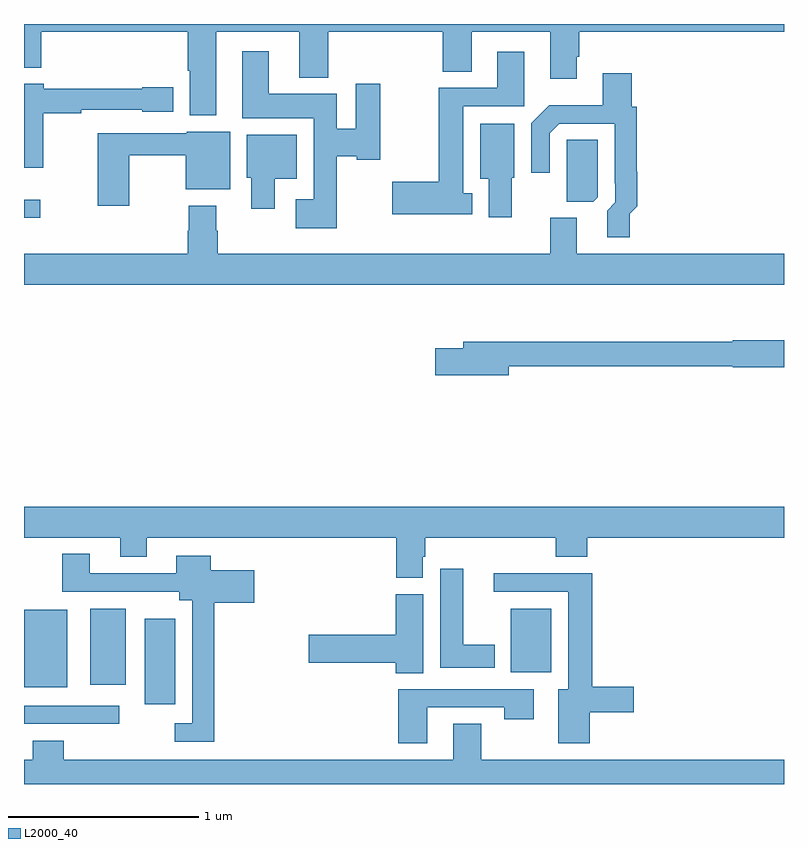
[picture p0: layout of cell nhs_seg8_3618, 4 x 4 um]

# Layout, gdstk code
import gdstk
lib = gdstk.Library(unit=1e-6, precision=1e-09)
def R(c, l, rs):  # rectangles x0, y0, x1, y1
    for r in rs: c.add(gdstk.rectangle(r[:2], r[2:], *l))
def P(c, l, *ps):  # polygons
    for p in ps: c.add(gdstk.Polygon(p, *l))
L2000_40 = (2000, 40)

nhs_seg8_3618 = lib.new_cell('nhs_seg8_3618')
R(nhs_seg8_3618, L2000_40, [(335,1086.216,335.5,1086.312), (335.636,1086.321,335.797,1086.769), (335,1086.41,335.227,1086.817), (335.348,1086.422,335.536,1086.823), (337.562,1086.488,337.774,1086.823), (335,1088.88,335.086,1088.976)])
P(nhs_seg8_3618, L2000_40, [(335,1089.671),(335.09,1089.671),(335.09,1089.86),(335.861,1089.86),(335.861,1089.655),(335.873,1089.655),(335.873,1089.419),(336.013,1089.419),(336.013,1089.86),(336.449,1089.86),(336.449,1089.617),(336.602,1089.617),(336.602,1089.86),(337.205,1089.86),(337.205,1089.649),(337.357,1089.649),(337.357,1089.86),(337.769,1089.86),(337.769,1089.612),(337.909,1089.612),(337.909,1089.727),(337.922,1089.727),(337.922,1089.86),(339,1089.86),(339,1089.9),(335,1089.9)],
  [(336.646,1089.203),(336.75,1089.203),(336.75,1089.185),(336.876,1089.185),(336.876,1089.586),(336.746,1089.586),(336.746,1089.35),(336.646,1089.35),(336.646,1089.532),(336.289,1089.532),(336.289,1089.757),(336.149,1089.757),(336.149,1089.404),(336.524,1089.404),(336.524,1088.977),(336.429,1088.977),(336.429,1088.825),(336.646,1088.825)],
  [(337.36,1089.01),(337.312,1089.01),(337.312,1089.468),(337.633,1089.468),(337.633,1089.754),(337.49,1089.754),(337.49,1089.564),(337.183,1089.564),(337.183,1089.071),(336.939,1089.071),(336.939,1088.9),(337.36,1088.9)],
  [(338.189,1088.901),(338.228,1088.94),(338.228,1089.122),(338.225,1089.122),(338.225,1089.465),(338.198,1089.465),(338.198,1089.64),(338.045,1089.64),(338.045,1089.472),(337.765,1089.472),(337.671,1089.378),(337.671,1089.117),(337.767,1089.117),(337.767,1089.324),(337.818,1089.375),(338.109,1089.375),(338.109,1089.061),(338.112,1089.061),(338.112,1088.961),(338.069,1088.918),(338.069,1088.778),(338.189,1088.778)],
  [(335.1,1089.43),(335.3,1089.43),(335.3,1089.45),(335.622,1089.45),(335.622,1089.437),(335.785,1089.437),(335.785,1089.567),(335.622,1089.567),(335.622,1089.559),(335.105,1089.559),(335.105,1089.586),(335,1089.586),(335,1089.144),(335.1,1089.144)],
  [(337.567,1089.09),(337.579,1089.09),(337.579,1089.376),(337.4,1089.376),(337.4,1089.086),(337.445,1089.086),(337.445,1088.883),(337.567,1088.883)],
  [(335.554,1089.208),(335.852,1089.208),(335.852,1089.029),(336.085,1089.029),(336.085,1089.334),(335.856,1089.334),(335.856,1089.324),(335.389,1089.324),(335.389,1088.943),(335.554,1088.943)],
  [(336.319,1089.086),(336.436,1089.086),(336.436,1089.316),(336.173,1089.316),(336.173,1089.09),(336.197,1089.09),(336.197,1088.928),(336.319,1088.928)],
  [(338.019,1088.988),(338.019,1089.29),(337.857,1089.29),(337.857,1089.179),(337.856,1089.179),(337.856,1088.965),(337.995,1088.965)],
  [(339,1088.692),(337.909,1088.692),(337.909,1088.88),(337.769,1088.88),(337.769,1088.692),(336.021,1088.692),(336.021,1088.813),(336.013,1088.813),(336.013,1088.944),(335.866,1088.944),(335.866,1088.813),(335.861,1088.813),(335.861,1088.692),(335,1088.692),(335,1088.528),(339,1088.528)],
  [(337.552,1088.098),(338.73,1088.098),(338.73,1088.093),(339,1088.093),(339,1088.235),(338.73,1088.235),(338.73,1088.227),(337.313,1088.227),(337.313,1088.193),(337.164,1088.193),(337.164,1088.051),(337.552,1088.051)],
  [(335,1087.196),(335.507,1087.196),(335.507,1087.097),(335.647,1087.097),(335.647,1087.196),(336.959,1087.196),(336.959,1086.985),(337.099,1086.985),(337.099,1087.095),(337.112,1087.095),(337.112,1087.196),(337.799,1087.196),(337.799,1087.097),(337.964,1087.097),(337.964,1087.196),(339,1087.196),(339,1087.36),(335,1087.36)],
  [(336.002,1086.854),(336.211,1086.854),(336.211,1087.024),(335.983,1087.024),(335.983,1087.102),(335.801,1087.102),(335.801,1087.008),(335.347,1087.008),(335.347,1087.111),(335.2,1087.111),(335.2,1086.912),(335.816,1086.912),(335.816,1086.866),(335.886,1086.866),(335.886,1086.219),(335.793,1086.219),(335.793,1086.123),(336.002,1086.123)],
  [(337.477,1086.634),(337.312,1086.634),(337.312,1087.033),(337.19,1087.033),(337.19,1086.512),(337.477,1086.512)],
  [(337.978,1086.278),(338.209,1086.278),(338.209,1086.413),(337.991,1086.413),(337.991,1087.01),(337.473,1087.01),(337.473,1086.912),(337.865,1086.912),(337.865,1086.4),(337.811,1086.4),(337.811,1086.114),(337.978,1086.114)],
  [(337.102,1086.9),(336.956,1086.9),(336.956,1086.686),(336.498,1086.686),(336.498,1086.539),(336.956,1086.539),(336.956,1086.484),(337.102,1086.484)],
  [(337.123,1086.303),(337.528,1086.303),(337.528,1086.24),(337.684,1086.24),(337.684,1086.399),(336.971,1086.399),(336.971,1086.114),(337.123,1086.114)],
  [(339,1086.028),(337.407,1086.028),(337.407,1086.218),(337.259,1086.218),(337.259,1086.028),(335.21,1086.028),(335.21,1086.127),(335.045,1086.127),(335.045,1086.028),(335,1086.028),(335,1085.9),(339,1085.9)])

lib.write_gds('nhs_seg8_3618.gds')
